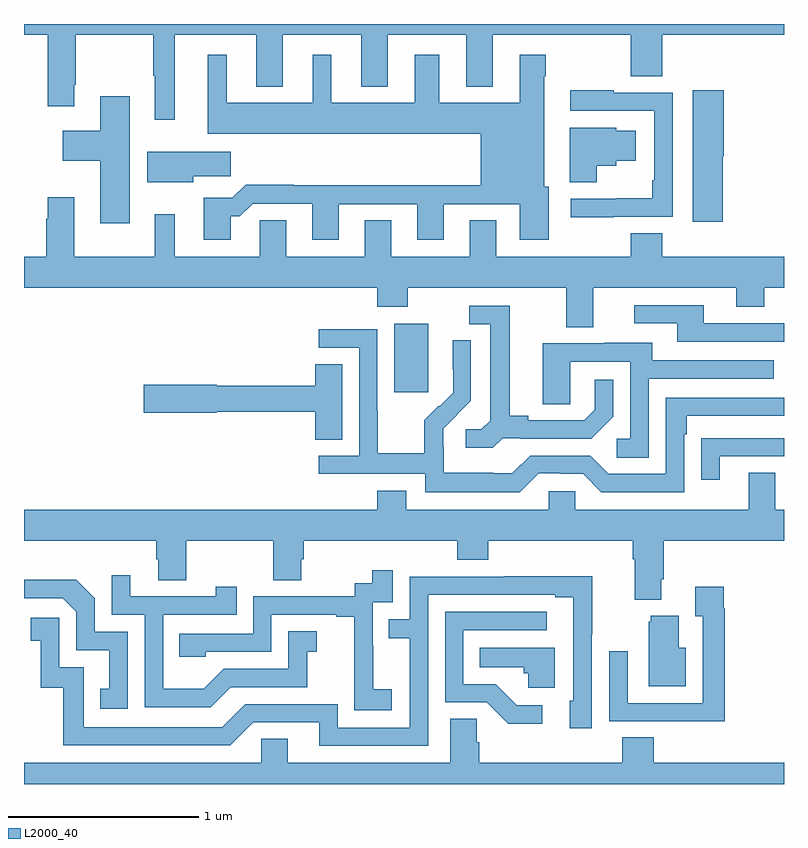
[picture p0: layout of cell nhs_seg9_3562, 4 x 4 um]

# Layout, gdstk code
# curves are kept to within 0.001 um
import gdstk
lib = gdstk.Library(unit=1e-6, precision=1e-09)
def R(c, l, rs):  # rectangles x0, y0, x1, y1
    for r in rs: c.add(gdstk.rectangle(r[:2], r[2:], *l))
def P(c, l, *ps):  # polygons
    for p in ps: c.add(gdstk.Polygon(p, *l))
L2000_40 = (2000, 40)

nhs_seg9_3562 = lib.new_cell('nhs_seg9_3562')
R(nhs_seg9_3562, L2000_40, [(316.949,1170.561,317.128,1170.922)])
P(nhs_seg9_3562, L2000_40, [(315.793,1172.444),(316.223,1172.444),(316.223,1172.171),(316.363,1172.171),(316.363,1172.444),(316.775,1172.444),(316.775,1172.171),(316.915,1172.171),(316.915,1172.444),(317.327,1172.444),(317.327,1172.171),(317.467,1172.171),(317.467,1172.444),(318.193,1172.444),(318.193,1172.224),(318.359,1172.224),(318.359,1172.444),(319,1172.444),(319,1172.5),(315,1172.5),(315,1172.444),(315.125,1172.444),(315.125,1172.067),(315.265,1172.067),(315.265,1172.179),(315.273,1172.179),(315.273,1172.444),(315.679,1172.444),(315.679,1172.228),(315.689,1172.228),(315.689,1171.995),(315.793,1171.995)],
  [(316.087,1171.487),(316.136,1171.487),(316.203,1171.554),(316.517,1171.554),(316.517,1171.365),(316.657,1171.365),(316.657,1171.551),(317.069,1171.551),(317.069,1171.365),(317.209,1171.365),(317.209,1171.551),(317.609,1171.551),(317.609,1171.365),(317.761,1171.365),(317.761,1171.644),(317.737,1171.644),(317.737,1172.225),(317.745,1172.225),(317.745,1172.338),(317.609,1172.338),(317.609,1172.086),(317.185,1172.086),(317.185,1172.338),(317.057,1172.338),(317.057,1172.086),(316.618,1172.086),(316.618,1172.338),(316.52,1172.338),(316.52,1172.086),(316.066,1172.086),(316.066,1172.338),(315.968,1172.338),(315.968,1171.922),(317.405,1171.922),(317.405,1171.652),(316.421,1171.652),(316.421,1171.655),(316.166,1171.655),(316.096,1171.585),(315.947,1171.585),(315.947,1171.365),(316.087,1171.365)],
  [(318.104,1171.485),(318.414,1171.485),(318.414,1172.139),(318.104,1172.139),(318.104,1172.152),(317.874,1172.152),(317.874,1172.043),(318.318,1172.043),(318.318,1171.678),(318.306,1171.678),(318.306,1171.583),(318.117,1171.583),(318.117,1171.581),(317.877,1171.581),(317.877,1171.484),(318.104,1171.484)],
  [(318.677,1171.803),(318.682,1171.803),(318.682,1172.152),(318.521,1172.152),(318.521,1171.458),(318.677,1171.458)],
  [(315.556,1172.119),(315.401,1172.119),(315.401,1171.939),(315.204,1171.939),(315.204,1171.781),(315.401,1171.781),(315.401,1171.452),(315.556,1171.452)],
  [(318.015,1171.754),(318.117,1171.754),(318.117,1171.781),(318.22,1171.781),(318.22,1171.939),(318.117,1171.939),(318.117,1171.954),(317.873,1171.954),(317.873,1171.666),(318.015,1171.666)],
  [(315.892,1171.699),(316.087,1171.699),(316.087,1171.828),(315.648,1171.828),(315.648,1171.667),(315.892,1171.667)],
  [(317.995,1171.112),(318.749,1171.112),(318.749,1171.013),(318.897,1171.013),(318.897,1171.112),(319,1171.112),(319,1171.276),(318.359,1171.276),(318.359,1171.4),(318.193,1171.4),(318.193,1171.276),(317.485,1171.276),(317.485,1171.466),(317.345,1171.466),(317.345,1171.276),(316.933,1171.276),(316.933,1171.466),(316.793,1171.466),(316.793,1171.276),(316.381,1171.276),(316.381,1171.466),(316.242,1171.466),(316.242,1171.276),(315.793,1171.276),(315.793,1171.498),(315.689,1171.498),(315.689,1171.276),(315.265,1171.276),(315.265,1171.588),(315.125,1171.588),(315.125,1171.475),(315.118,1171.475),(315.118,1171.276),(315,1171.276),(315,1171.112),(316.859,1171.112),(316.859,1171.013),(317.019,1171.013),(317.019,1171.112),(317.855,1171.112),(317.855,1170.904),(317.995,1170.904)],
  [(319,1170.924),(318.577,1170.924),(318.577,1171.02),(318.213,1171.02),(318.213,1170.924),(318.437,1170.924),(318.437,1170.828),(319,1170.828)],
  [(317.52,1170.321),(317.614,1170.321),(317.614,1170.318),(317.986,1170.318),(318.102,1170.434),(318.102,1170.628),(318.005,1170.628),(318.005,1170.471),(317.948,1170.414),(317.653,1170.414),(317.653,1170.437),(317.557,1170.437),(317.557,1171.017),(317.343,1171.017),(317.343,1170.921),(317.453,1170.921),(317.453,1170.413),(317.406,1170.366),(317.325,1170.366),(317.325,1170.269),(317.468,1170.269)],
  [(317.709,1170.135),(317.825,1170.135),(317.825,1170.132),(317.943,1170.132),(318.039,1170.036),(318.474,1170.036),(318.474,1170.341),(318.487,1170.341),(318.487,1170.438),(319,1170.438),(319,1170.534),(318.378,1170.534),(318.378,1170.132),(318.075,1170.132),(317.979,1170.228),(317.664,1170.228),(317.571,1170.135),(317.471,1170.135),(317.471,1170.139),(317.208,1170.139),(317.208,1170.273),(317.206,1170.273),(317.206,1170.37),(317.352,1170.518),(317.352,1170.836),(317.256,1170.836),(317.256,1170.682),(317.258,1170.682),(317.258,1170.56),(317.187,1170.489),(317.184,1170.492),(317.107,1170.415),(317.107,1170.241),(316.863,1170.241),(316.863,1170.464),(316.86,1170.464),(316.86,1170.894),(316.551,1170.894),(316.551,1170.795),(316.764,1170.795),(316.764,1170.228),(316.551,1170.228),(316.551,1170.132),(317.112,1170.132),(317.112,1170.035),(317.609,1170.035)],
  [(318.288,1170.633),(318.947,1170.633),(318.947,1170.729),(318.307,1170.729),(318.307,1170.823),(318.053,1170.823),(318.053,1170.819),(317.729,1170.819),(317.729,1170.499),(317.874,1170.499),(317.874,1170.723),(318.192,1170.723),(318.192,1170.318),(318.12,1170.318),(318.12,1170.217),(318.288,1170.217)],
  [(316.675,1170.71),(316.532,1170.71),(316.532,1170.596),(316.014,1170.596),(316.014,1170.602),(315.63,1170.602),(315.63,1170.455),(316.014,1170.455),(316.014,1170.46),(316.532,1170.46),(316.532,1170.313),(316.675,1170.313)],
  [(318.661,1170.225),(319,1170.225),(319,1170.321),(318.667,1170.321),(318.667,1170.32),(318.565,1170.32),(318.565,1170.102),(318.661,1170.102)],
  [(318.355,1169.578),(318.368,1169.578),(318.368,1169.78),(319,1169.78),(319,1169.944),(318.955,1169.944),(318.955,1170.139),(318.815,1170.139),(318.815,1169.944),(317.901,1169.944),(317.901,1170.042),(317.763,1170.042),(317.763,1169.944),(317.011,1169.944),(317.011,1170.043),(316.859,1170.043),(316.859,1169.944),(315,1169.944),(315,1169.78),(315.695,1169.78),(315.695,1169.682),(315.707,1169.682),(315.707,1169.572),(315.855,1169.572),(315.855,1169.78),(316.312,1169.78),(316.312,1169.572),(316.459,1169.572),(316.459,1169.682),(316.472,1169.682),(316.472,1169.78),(317.279,1169.78),(317.279,1169.681),(317.444,1169.681),(317.444,1169.78),(318.203,1169.78),(318.203,1169.684),(318.215,1169.684),(318.215,1169.471),(318.355,1169.471)],
  [(316.936,1168.999),(316.838,1168.999),(316.838,1169.228),(316.836,1169.228),(316.836,1169.457),(316.941,1169.457),(316.941,1169.626),(316.833,1169.626),(316.833,1169.556),(316.74,1169.556),(316.74,1169.487),(316.206,1169.487),(316.206,1169.292),(315.817,1169.292),(315.817,1169.169),(315.957,1169.169),(315.957,1169.196),(316.302,1169.196),(316.302,1169.391),(316.643,1169.391),(316.643,1169.379),(316.739,1169.379),(316.739,1169.095),(316.738,1169.095),(316.738,1168.889),(316.936,1168.889)],
  [(316.087,1169.01),(316.491,1169.01),(316.491,1169.195),(316.54,1169.195),(316.54,1169.305),(316.392,1169.305),(316.392,1169.106),(316.05,1169.106),(315.946,1169.002),(315.732,1169.002),(315.732,1169.391),(316.121,1169.391),(316.121,1169.539),(316.01,1169.539),(316.01,1169.487),(315.559,1169.487),(315.559,1169.599),(315.462,1169.599),(315.462,1169.391),(315.636,1169.391),(315.636,1168.905),(315.982,1168.905)],
  [(317.127,1169.496),(317.795,1169.496),(317.795,1169.484),(317.892,1169.484),(317.892,1168.938),(317.873,1168.938),(317.873,1168.794),(317.988,1168.794),(317.988,1169.287),(317.991,1169.287),(317.991,1169.594),(317.527,1169.594),(317.527,1169.592),(317.031,1169.592),(317.031,1169.367),(316.921,1169.367),(316.921,1169.266),(317.031,1169.266),(317.031,1168.797),(316.65,1168.797),(316.65,1168.92),(316.164,1168.92),(316.044,1168.8),(315.315,1168.8),(315.315,1169.115),(315.186,1169.115),(315.186,1169.374),(315.036,1169.374),(315.036,1169.253),(315.089,1169.253),(315.089,1169.007),(315.207,1169.007),(315.207,1168.704),(316.086,1168.704),(316.206,1168.824),(316.553,1168.824),(316.553,1168.701),(317.127,1168.701)],
  [(315.546,1169.301),(315.372,1169.301),(315.372,1169.478),(315.274,1169.576),(315,1169.576),(315,1169.478),(315.204,1169.478),(315.276,1169.406),(315.276,1169.205),(315.449,1169.205),(315.449,1169.001),(315.4,1169.001),(315.4,1168.896),(315.546,1168.896)],
  [(318.689,1169.426),(318.682,1169.426),(318.682,1169.539),(318.533,1169.539),(318.533,1169.383),(318.573,1169.383),(318.573,1168.926),(318.177,1168.926),(318.177,1169.2),(318.081,1169.2),(318.081,1168.83),(318.397,1168.83),(318.397,1168.829),(318.689,1168.829)],
  [(317.728,1168.914),(317.593,1168.914),(317.482,1169.025),(317.313,1169.025),(317.313,1169.31),(317.752,1169.31),(317.752,1169.406),(317.217,1169.406),(317.217,1168.929),(317.436,1168.929),(317.549,1168.817),(317.728,1168.817)],
  [(318.484,1169.218),(318.445,1169.218),(318.445,1169.386),(318.299,1169.386),(318.299,1169.355),(318.287,1169.355),(318.287,1169.015),(318.484,1169.015)],
  [(317.794,1169.218),(317.398,1169.218),(317.398,1169.114),(317.629,1169.114),(317.629,1169.082),(317.655,1169.082),(317.655,1169.006),(317.794,1169.006)],
  [(317.382,1168.721),(317.382,1168.844),(317.243,1168.844),(317.243,1168.612),(316.387,1168.612),(316.387,1168.739),(316.248,1168.739),(316.248,1168.612),(315,1168.612),(315,1168.5),(319,1168.5),(319,1168.612),(318.314,1168.612),(318.314,1168.745),(318.149,1168.745),(318.149,1168.612),(317.396,1168.612),(317.396,1168.721)])

lib.write_gds('nhs_seg9_3562.gds')
